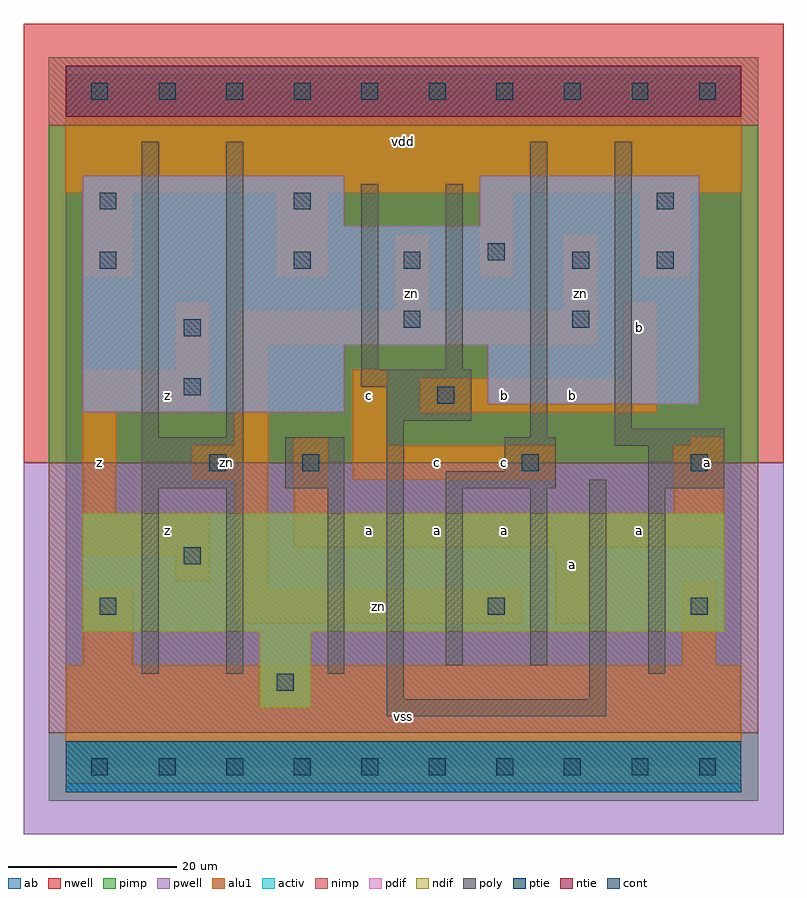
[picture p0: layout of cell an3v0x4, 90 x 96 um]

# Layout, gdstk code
import gdstk
lib = gdstk.Library(unit=1e-6, precision=1e-09)
def R(c, l, rs):  # rectangles x0, y0, x1, y1
    for r in rs: c.add(gdstk.rectangle(r[:2], r[2:], *l))
def A(c, l, x, y, w, h, nx, ny, dx, dy):  # array of equal rectangles
    R(c, l, [(x+i*dx, y+j*dy, x+i*dx+w, y+j*dy+h) for i in range(nx) for j in range(ny)])
ndif = (3, 0)
pdif = (4, 0)
ntie = (5, 0)
ptie = (6, 0)
cont = (25, 0)
pwell = (41, 0)
nwell = (42, 0)
activ = (43, 0)
pimp = (44, 0)
nimp = (45, 0)
poly = (46, 0)
alu1 = (49, 0)
ab = (63, 0)

an3v0x4 = lib.new_cell('an3v0x4')
R(an3v0x4, ndif, [(23,7,29,16), (2,16,78,30)])
R(an3v0x4, pdif, [(2,42,33,50), (50,43,75,50), (2,50,75,64), (2,64,33,70), (49,64,75,70)])
R(an3v0x4, ntie, [(0,77,80,83)])
R(an3v0x4, ptie, [(0,-3,80,3)])
A(an3v0x4, cont, 3, -1, 2, 2, 10, 2, 8, 80)
R(an3v0x4, cont, [(25,9,27,11), (4,18,6,20), (50,18,52,20), (74,18,76,20), (14,24,16,26), (17,35,19,37), (28,35,30,37), (54,35,56,37), (74,35,76,37), (44,43,46,45), (14,44,16,46), (14,51,16,53), (40,52,42,54), (60,52,62,54), (4,59,6,61), (27,59,29,61), (40,59,42,61), (60,59,62,61), (70,59,72,61), (50,60,52,62), (4,66,6,68), (27,66,29,68), (70,66,72,68)])
R(an3v0x4, pwell, [(-5,-8,85,36)])
R(an3v0x4, nwell, [(-5,36,85,88)])
R(an3v0x4, activ, [(0,-3,80,3), (23,7,29,16), (2,16,78,30), (2,42,33,50), (50,43,75,50), (2,50,75,64), (2,64,33,70), (49,64,75,70), (0,77,80,83)])
R(an3v0x4, pimp, [(-2,-4,82,4), (-2,36,82,76)])
R(an3v0x4, nimp, [(-2,4,82,36), (-2,76,82,84)])
R(an3v0x4, poly, [(38,6,64,8), (38,8,40,41), (62,8,64,34), (9,11,11,33), (19,11,21,33), (31,11,33,33), (69,11,71,33), (45,12,47,33), (55,12,57,33), (9,33,21,39), (26,33,33,39), (45,33,58,35), (69,33,78,38), (52,35,58,39), (65,38,78,40), (9,39,11,74), (19,39,21,74), (55,39,57,74), (65,40,67,74), (38,41,48,45), (35,45,48,47), (35,47,37,69), (45,47,47,69)])
R(an3v0x4, alu1, [(0,-2,80,12), (2,12,8,21), (73,12,77,22), (20,17,54,21), (58,17,62,26), (20,21,24,34), (13,22,17,25), (2,25,17,30), (27,26,78,30), (2,30,6,42), (27,30,31,39), (72,30,78,38), (15,34,24,38), (34,34,58,38), (20,38,24,50), (34,38,38,47), (74,38,78,39), (2,42,17,47), (42,42,70,46), (66,46,70,55), (13,47,17,55), (20,50,63,54), (39,54,43,63), (59,54,63,63), (2,58,8,68), (25,58,31,68), (49,58,53,68), (68,58,74,68), (0,68,80,82)])
R(an3v0x4, ab, [(0,0,80,80)])
an3v0x4.add(gdstk.Label('zn', (19,36), layer=49, texttype=0))
an3v0x4.add(gdstk.Label('zn', (37,19), layer=49, texttype=0))
an3v0x4.add(gdstk.Label('zn', (41,56), layer=49, texttype=0))
an3v0x4.add(gdstk.Label('zn', (61,56), layer=49, texttype=0))
an3v0x4.add(gdstk.Label('z', (12,28), layer=49, texttype=0))
an3v0x4.add(gdstk.Label('z', (4,36), layer=49, texttype=0))
an3v0x4.add(gdstk.Label('z', (12,44), layer=49, texttype=0))
an3v0x4.add(gdstk.Label('a', (36,28), layer=49, texttype=0))
an3v0x4.add(gdstk.Label('c', (36,44), layer=49, texttype=0))
an3v0x4.add(gdstk.Label('vss', (40,6), layer=49, texttype=0))
an3v0x4.add(gdstk.Label('a', (44,28), layer=49, texttype=0))
an3v0x4.add(gdstk.Label('c', (44,36), layer=49, texttype=0))
an3v0x4.add(gdstk.Label('c', (52,36), layer=49, texttype=0))
an3v0x4.add(gdstk.Label('a', (52,28), layer=49, texttype=0))
an3v0x4.add(gdstk.Label('b', (52,44), layer=49, texttype=0))
an3v0x4.add(gdstk.Label('vdd', (40,74), layer=49, texttype=0))
an3v0x4.add(gdstk.Label('a', (60,24), layer=49, texttype=0))
an3v0x4.add(gdstk.Label('a', (76,36), layer=49, texttype=0))
an3v0x4.add(gdstk.Label('a', (68,28), layer=49, texttype=0))
an3v0x4.add(gdstk.Label('b', (60,44), layer=49, texttype=0))
an3v0x4.add(gdstk.Label('b', (68,52), layer=49, texttype=0))

lib.write_gds('an3v0x4.gds')
